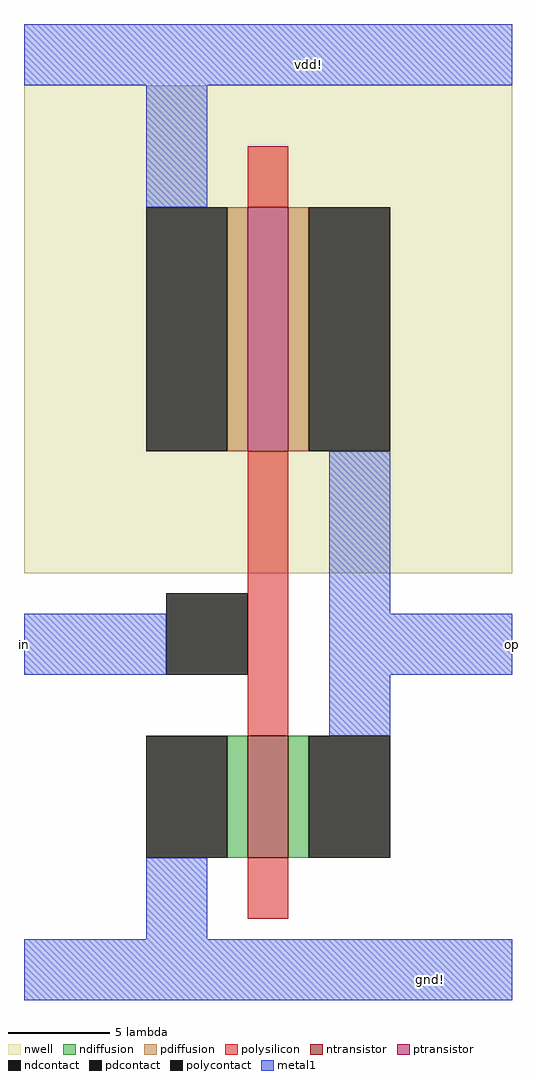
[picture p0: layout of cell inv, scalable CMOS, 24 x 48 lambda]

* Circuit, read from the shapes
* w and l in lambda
.subckt inv gnd! in op vdd!
M1 op in gnd! VSUBS nfet w=6 l=2
M2 op in vdd! n1 pfet w=12 l=2
.ends

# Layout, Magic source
magic
tech scmos
<< nwell >>
rect 0 6 24 30
<< ntransistor >>
rect 11 -8 13 -2
<< ptransistor >>
rect 11 12 13 24
<< ndiffusion >>
rect 10 -8 11 -2
rect 13 -8 14 -2
<< pdiffusion >>
rect 10 12 11 24
rect 13 12 14 24
<< ndcontact >>
rect 6 -8 10 -2
rect 14 -8 18 -2
<< pdcontact >>
rect 6 12 10 24
rect 14 12 18 24
<< polysilicon >>
rect 11 24 13 27
rect 11 -2 13 12
rect 11 -11 13 -8
<< polycontact >>
rect 7 1 11 5
<< metal1 >>
rect 0 30 24 33
rect 6 24 9 30
rect 0 1 7 4
rect 15 4 18 12
rect 15 1 24 4
rect 15 -2 18 1
rect 6 -12 9 -8
rect 0 -15 24 -12
<< labels >>
rlabel metal1 14 31 14 31 5 vdd!
rlabel metal1 20 -14 20 -14 1 gnd!
rlabel metal1 0 1 0 4 3 in
rlabel metal1 24 1 24 4 7 op
<< end >>
